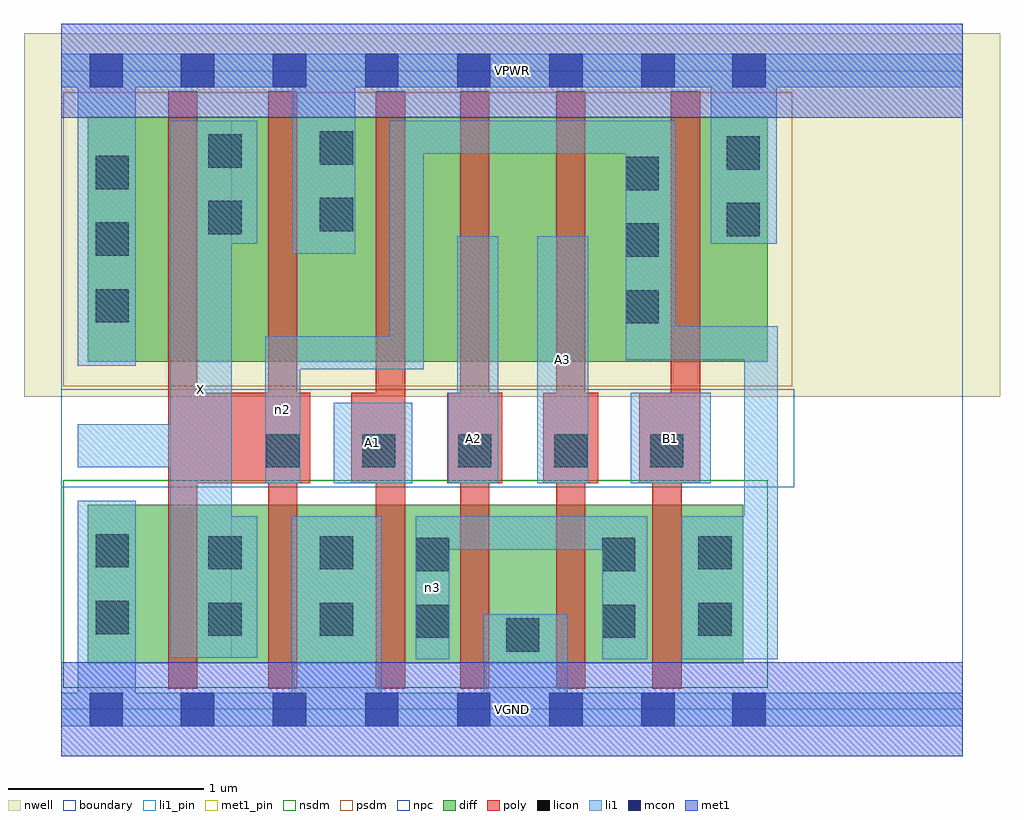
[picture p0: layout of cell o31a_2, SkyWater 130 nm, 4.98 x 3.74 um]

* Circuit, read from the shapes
.subckt o31a_2 A1 A2 A3 B1 VGND VPWR X n2 n3
XM1 X n2 VGND VSUBS sky130_fd_pr__nfet_01v8 w=0.81 l=0.15 m=2
XM2 n3 A1 VGND VSUBS sky130_fd_pr__nfet_01v8 w=0.81 l=0.15
XM3 VGND A2 n3 VSUBS sky130_fd_pr__nfet_01v8 w=0.81 l=0.15
XM4 n3 A3 VGND VSUBS sky130_fd_pr__nfet_01v8 w=0.81 l=0.15
XM5 n2 B1 n3 VSUBS sky130_fd_pr__nfet_01v8 w=0.81 l=0.15
XM6 X n2 VPWR n1 sky130_fd_pr__pfet_01v8 w=1.25 l=0.15 m=2
XM7 n4 A1 VPWR n1 sky130_fd_pr__pfet_01v8 w=1.25 l=0.15
XM8 n5 A2 n4 n1 sky130_fd_pr__pfet_01v8 w=1.25 l=0.15
XM9 n2 A3 n5 n1 sky130_fd_pr__pfet_01v8 w=1.25 l=0.15
XM10 VPWR B1 n2 n1 sky130_fd_pr__pfet_01v8 w=1.25 l=0.15
.ends

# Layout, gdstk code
import gdstk
lib = gdstk.Library(unit=1e-6, precision=1e-09)
def R(c, l, rs):  # rectangles x0, y0, x1, y1
    for r in rs: c.add(gdstk.rectangle(r[:2], r[2:], *l))
def A(c, l, x, y, w, h, nx, ny, dx, dy):  # array of equal rectangles
    R(c, l, [(x+i*dx, y+j*dy, x+i*dx+w, y+j*dy+h) for i in range(nx) for j in range(ny)])
nwell = (64, 20)
diff = (65, 20)
poly = (66, 20)
licon = (66, 44)
li1_pin = (67, 16)
li1 = (67, 20)
mcon = (67, 44)
met1_pin = (68, 16)
met1 = (68, 20)
nsdm = (93, 44)
psdm = (94, 20)
npc = (95, 20)
boundary = (235, 4)

o31a_2 = lib.new_cell('o31a_2')
R(o31a_2, nwell, [(-0.19,1.595,4.79,3.45), (0,1.595,4.6,3.45)])
R(o31a_2, diff, [(0.135,0.235,3.48,1.045), (0.135,1.775,3.605,3.025)])
R(o31a_2, poly, [(0.545,0.105,0.695,3.155), (1.055,0.105,1.205,3.155), (1.605,0.105,1.755,3.155), (2.035,0.105,2.185,3.155), (2.525,0.105,2.675,3.155), (3.015,0.105,3.165,1.615), (0.545,1.155,1.27,1.615), (1.48,1.155,1.755,1.615), (1.97,1.155,2.25,1.615), (2.46,1.155,2.74,1.615), (2.95,1.155,3.26,1.615), (3.11,1.155,3.26,3.155)])
A(o31a_2, licon, 1.045, 1.235, 0.17, 0.17, 5, 1, 0.49, 0)
A(o31a_2, licon, 2.88, 1.97, 0.17, 0.17, 1, 3, 0, 0.34)
A(o31a_2, licon, 0.175, 1.975, 0.17, 0.17, 1, 3, 0, 0.34)
R(o31a_2, licon, [(2.27,0.295,2.44,0.465), (1.81,0.365,1.98,0.535), (2.76,0.365,2.93,0.535), (0.75,0.375,0.92,0.545), (1.32,0.375,1.49,0.545), (3.25,0.375,3.42,0.545), (0.175,0.385,0.345,0.555), (1.81,0.705,1.98,0.875), (2.76,0.705,2.93,0.875), (0.75,0.715,0.92,0.885), (1.32,0.715,1.49,0.885), (3.25,0.715,3.42,0.885), (0.175,0.725,0.345,0.895), (3.395,2.415,3.565,2.585), (0.75,2.425,0.92,2.595), (1.32,2.44,1.49,2.61), (3.395,2.755,3.565,2.925), (0.75,2.765,0.92,2.935), (1.32,2.78,1.49,2.95)])
R(o31a_2, li1_pin, [(0.555,0.265,0.87,3.005), (1.39,1.155,1.79,1.565), (1.975,1.155,2.23,1.615), (2.43,1.155,2.69,2.415), (2.905,1.155,3.315,1.615)])
R(o31a_2, li1, [(0,-0.085,4.6,0.085), (0.085,-0.085,0.38,1.065), (1.175,-0.085,1.635,0.985), (2.155,-0.085,2.585,0.485), (1.81,0.255,1.98,0.985), (2.76,0.255,2.99,0.985), (3.165,0.255,3.655,0.985), (3.485,0.255,3.655,1.955), (0.555,0.265,0.87,3.005), (0.555,0.265,1,0.985), (1.81,0.815,2.99,0.985), (1.04,1.155,1.22,1.905), (1.39,1.155,1.79,1.565), (1.975,1.155,2.23,1.615), (2.02,1.155,2.23,2.415), (2.43,1.155,2.69,2.415), (2.905,1.155,3.315,1.615), (0.085,1.235,0.87,1.455), (1.04,1.735,1.85,1.905), (1.675,1.735,1.85,3.005), (0.085,1.755,0.38,3.345), (2.88,1.785,3.135,3.005), (2.88,1.785,3.655,1.955), (1.18,2.325,1.5,3.345), (0.555,2.375,1,3.005), (3.315,2.375,3.65,3.345), (1.675,2.835,3.135,3.005), (0,3.175,4.6,3.345)])
A(o31a_2, mcon, 0.61, -0.085, 0.17, 0.17, 6, 2, 0.47, 3.26)
R(o31a_2, mcon, [(0.145,-0.085,0.315,0.085), (3.425,-0.085,3.595,0.085), (0.145,3.175,0.315,3.345), (3.425,3.175,3.595,3.345)])
R(o31a_2, met1_pin, [(0,-0.24,4.6,0.24), (0,3.02,4.6,3.5)])
R(o31a_2, met1, [(0,-0.24,4.6,0.24), (0,3.02,4.6,3.5)])
R(o31a_2, nsdm, [(0.01,0.11,3.605,1.17)])
R(o31a_2, psdm, [(0.01,1.65,3.73,3.15)])
R(o31a_2, npc, [(0,1.135,3.74,1.635)])
R(o31a_2, boundary, [(0,0,4.6,3.26)])
o31a_2.add(gdstk.Label('A1', (1.59,1.36), layer=67, texttype=5))
o31a_2.add(gdstk.Label('A2', (2.102,1.385), layer=67, texttype=5))
o31a_2.add(gdstk.Label('A3', (2.56,1.785), layer=67, texttype=5))
o31a_2.add(gdstk.Label('B1', (3.11,1.385), layer=67, texttype=5))
o31a_2.add(gdstk.Label('X', (0.712,1.635), layer=67, texttype=5))
o31a_2.add(gdstk.Label('n3', (1.895,0.62), layer=67, texttype=5))
o31a_2.add(gdstk.Label('n2', (1.13,1.53), layer=67, texttype=5))
o31a_2.add(gdstk.Label('VPWR', (2.3,3.26), layer=68, texttype=5))
o31a_2.add(gdstk.Label('VGND', (2.3,0), layer=68, texttype=5))
o31a_2.add(gdstk.Label('A1', (1.59,1.36), layer=67, texttype=16))
o31a_2.add(gdstk.Label('A2', (2.102,1.385), layer=67, texttype=16))
o31a_2.add(gdstk.Label('A3', (2.56,1.785), layer=67, texttype=16))
o31a_2.add(gdstk.Label('B1', (3.11,1.385), layer=67, texttype=16))
o31a_2.add(gdstk.Label('X', (0.712,1.635), layer=67, texttype=16))
o31a_2.add(gdstk.Label('VPWR', (2.3,3.26), layer=68, texttype=16))
o31a_2.add(gdstk.Label('VGND', (2.3,0), layer=68, texttype=16))

lib.write_gds('o31a_2.gds')
